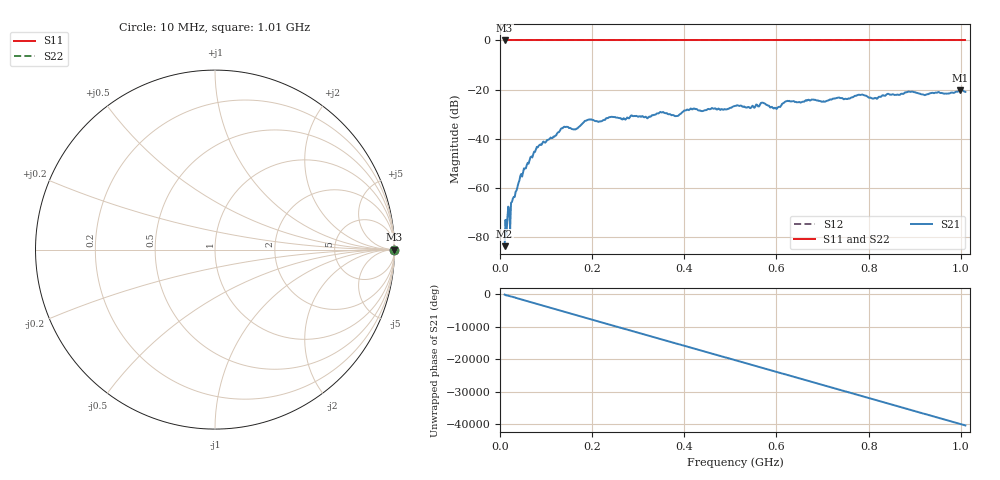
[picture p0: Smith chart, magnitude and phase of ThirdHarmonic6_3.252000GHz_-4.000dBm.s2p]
! 8/17/2025 10:00:37 AM
! C:\ANRITSUVNA\TEMP\TEMP.S2P
! CHANNEL.1
! TR.MEASUREMENT
! RAW.DATA
! RF.CORRECTION.OFF
! AVERAGING.OFF
! IF.BANDWIDTH: 5KHZ
! SWEEPTYPE:  FREQ.SWEEP(Linear)
! Reference Plane Port Info
! PORT:  PORT1  PORT2
! DISTANCE:  0  m  0  m
! TIME:  0  s  0  s
! PHASE.OFFSET:  0  deg.  0  deg.
! LOSS:  0  dB  0  dB
! REF.LOSS:  0  dB  0  dB
! REF.FREQ:  0  Hz  0  Hz
! Power Info
! POWER:  -20  dBm  -20  dBm
! EFF.POWER:  -20  dBm  -20  dBm
! SOURCE.ATTEN:  0  dB  0  dB
! TEST.ATTEN:  0  dB  0  dB
# GHZ S RI R 50.0
! FREQ.GHZ  S11RE  S11IM  S21RE  S21IM  S12RE  S12IM  S22RE  S22IM
!; PortSelection: Port_12
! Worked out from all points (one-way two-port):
!   501 points, 10 MHz to 1.01 GHz, reference 50 ohm
!   highest |S21| = -20.21 dB at 998 MHz (marker M1); lowest = -83.7 dB at 10 MHz (marker M2)
!   lowest |S11| = 0.0 dB at 10 MHz (marker M3)
!   |S11| at or under -10 dB: nowhere
!   |S22| runs from 0.0 to 0.0 dB; largest |S21 - S12| = 1.1
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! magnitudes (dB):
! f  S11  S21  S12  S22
! 10 MHz  0.0  -83.7  0.0  0.0
! 16 MHz  0.0  -72.5  0.0  0.0
! 18 MHz  0.0  -67.6  0.0  0.0
! 28 MHz  0.0  -64.3  0.0  0.0
! 42 MHz  0.0  -57.1  0.0  0.0
! 78 MHz  0.0  -44.4  0.0  0.0
! 136 MHz  0.0  -35.7  0.0  0.0
! 164 MHz  0.0  -36.2  0.0  0.0
! 178 MHz  0.0  -33.9  0.0  0.0
! 194 MHz  0.0  -32.2  0.0  0.0
! 322 MHz  0.0  -31.3  0.0  0.0
! 344 MHz  0.0  -29.7  0.0  0.0
! 384 MHz  0.0  -30.8  0.0  0.0
! 410 MHz  0.0  -28.4  0.0  0.0
! 510 MHz  0.0  -26.6  0.0  0.0
! 570 MHz  0.0  -25.3  0.0  0.0
! 598 MHz  0.0  -27.5  0.0  0.0
! 624 MHz  0.0  -24.6  0.0  0.0
! 678 MHz  0.0  -24.0  0.0  0.0
! 844 MHz  0.0  -21.8  0.0  0.0
! 998 MHz  0.0  -20.2  0.0  0.0
! 1.01 GHz  0.0  -20.9  0.0  0.0
